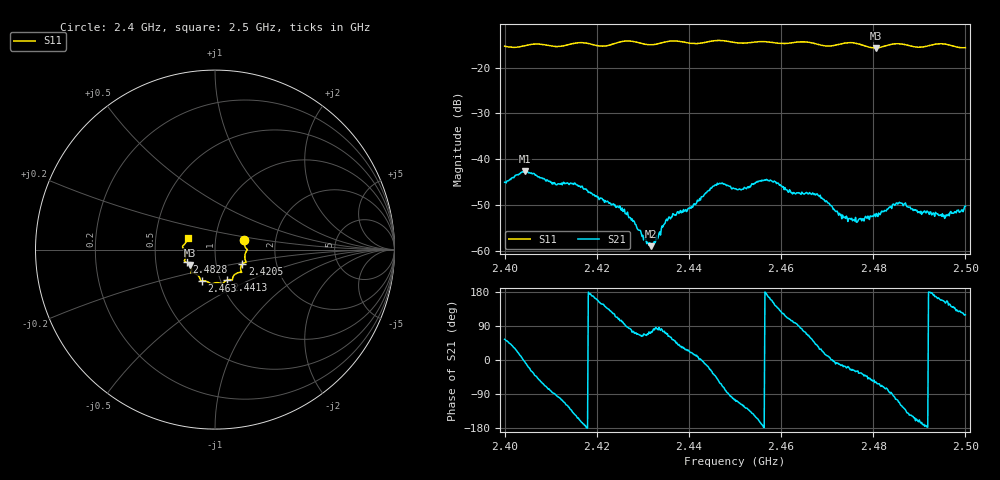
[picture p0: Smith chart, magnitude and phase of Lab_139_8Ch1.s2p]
# Hz S RI R 50
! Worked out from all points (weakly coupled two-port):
!   601 points, 2.4 GHz to 2.5 GHz, reference 50 ohm
!   highest |S21| = -42.54 dB at 2.4045 GHz (marker M1); lowest = -58.9 dB at 2.4318 GHz (marker M2)
!   lowest |S11| = -15.7 dB at 2.4807 GHz (marker M3), VSWR 1.39, Z = 37.3 - j6.54 ohm
!   |S11| at or under -10 dB: start of sweep to end of sweep
!   S12 and S22 are empty: the file has one direction only
!   S11 on the Smith chart (normalised r, x): 2.4 GHz: 1.38, +0.15; 2.4205 GHz: 1.34, -0.22; 2.4413 GHz: 1.08, -0.38; 2.463 GHz: 0.82, -0.29; 2.4828 GHz: 0.72, -0.10; 2.5 GHz: 0.73, +0.10
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2.4e9  0.1627 0.0522  0.00324 0.00459  0 0  0 0
2.4045e9  0.1732 0.00689  0.0074 -0.000976  0 0  0 0
2.410833e9  0.1684 -0.0232  0.000157 -0.00557  0 0  0 0
2.416667e9  0.1734 -0.0697  -0.00487 -0.00136  0 0  0 0
2.4205e9  0.1519 -0.0809  -0.00324 0.00165  0 0  0 0
2.4255e9  0.1473 -0.1237  -0.000538 0.0029  0 0  0 0
2.431833e9  0.11 -0.1389  0.000292 0.00109  0 0  0 0
2.433333e9  0.1005 -0.1516  0.000256 0.00139  0 0  0 0
2.435333e9  0.0976 -0.1657  0.000747 0.00201  0 0  0 0
2.441333e9  0.0676 -0.1693  0.0031 0.000747  0 0  0 0
2.446167e9  0.0418 -0.1928  0.00353 -0.00419  0 0  0 0
2.45e9  0.0246 -0.1858  -0.00119 -0.00462  0 0  0 0
2.457333e9  -0.0268 -0.1881  -0.00566 0.00147  0 0  0 0
2.463e9  -0.0721 -0.1737  -0.000624 0.00419  0 0  0 0
2.466667e9  -0.0817 -0.1673  0.00237 0.0034  0 0  0 0
2.474e9  -0.1316 -0.1307  0.00216 -0.000687  0 0  0 0
2.480667e9  -0.1397 -0.0854  0.00132 -0.00219  0 0  0 0
2.482833e9  -0.1586 -0.0701  0.000758 -0.00262  0 0  0 0
2.483333e9  -0.1625 -0.0683  0.000373 -0.0029  0 0  0 0
2.485833e9  -0.1705 -0.0623  -0.0015 -0.00298  0 0  0 0
2.495667e9  -0.1788 0.0213  -0.00204 0.00117  0 0  0 0
2.5e9  -0.152 0.064  -0.00151 0.00269  0 0  0 0
